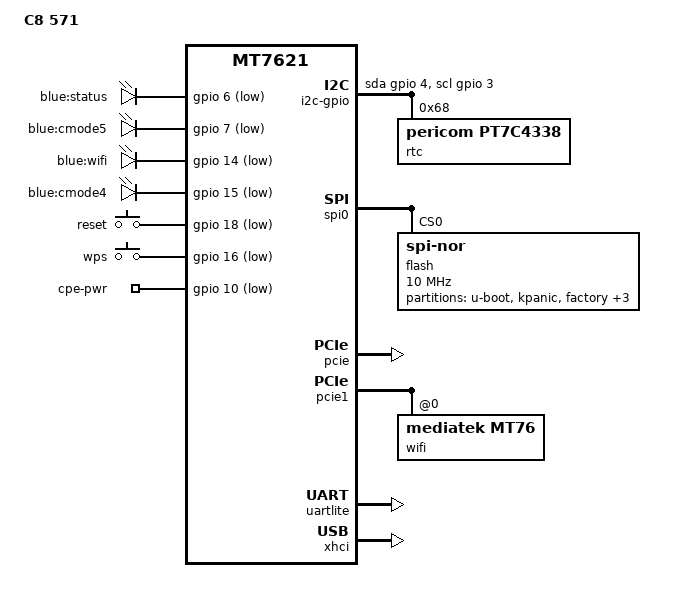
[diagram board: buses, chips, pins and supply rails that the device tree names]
// SPDX-License-Identifier: GPL-2.0-or-later OR MIT
/*
 * C8-571 / HC-WT6958 (HCMT7621-S256) board device tree
 *
 * Rebuilt from vendor firmware C8-571_2.2.7.0.bin (SquashFS + uImage, MT7621).
 * Every GPIO, partition and MAC offset below was verified against the DTB
 * extracted from that firmware; guesses from the earlier draft are marked
 * with "TODO(verify)" instead of being silently kept.
 */

/dts-v1/;

#include "mt7621.dtsi"

#include <dt-bindings/gpio/gpio.h>
#include <dt-bindings/input/input.h>
#include <dt-bindings/leds/common.h>

/ {
	compatible = "c8,571", "mediatek,mt7621-soc";
	model = "C8 571";

	aliases {
		led-boot = &led_sys;
		led-failsafe = &led_sys;
		led-running = &led_sys;
		led-upgrade = &led_sys;
		label-mac-device = &gmac0;
		serial0 = &uartlite;
	};

	chosen {
		stdout-path = "serial0:115200n8";
		bootargs = "console=ttyS0,115200n8";
	};

	leds {
		compatible = "gpio-leds";

		led_sys: sys {
			label = "blue:status";
			gpios = <&gpio 6 GPIO_ACTIVE_LOW>;
		};

		cmode5 {
			label = "blue:cmode5";
			gpios = <&gpio 7 GPIO_ACTIVE_LOW>;
		};

		wifi {
			label = "blue:wifi";
			gpios = <&gpio 14 GPIO_ACTIVE_LOW>;
		};

		cmode4 {
			label = "blue:cmode4";
			gpios = <&gpio 15 GPIO_ACTIVE_LOW>;
		};
	};

	keys {
		compatible = "gpio-keys-polled";
		poll-interval = <20>;

		reset {
			label = "reset";
			gpios = <&gpio 18 GPIO_ACTIVE_LOW>;
			linux,code = <KEY_RESTART>;
		};

		wps {
			label = "wps";
			gpios = <&gpio 16 GPIO_ACTIVE_LOW>;
			linux,code = <KEY_WPS_BUTTON>;
		};
	};

	gpio-export {
		compatible = "gpio-export";
		#size-cells = <0>;

		cpe-power {
			gpio-export,name = "cpe-pwr";
			gpio-export,output = <0>;
			gpios = <&gpio 10 GPIO_ACTIVE_LOW>;
		};

		/*
		 * Vendor DTB drives GPIO3 here (active-high) while the same pin is
		 * also the i2c-gpio SCL line below. Only one of the two can be
		 * active; this draft keeps the I2C bus so the PT7C4338 RTC works
		 * and leaves this node disabled. Flip the two "status" properties
		 * if the CPE select line matters more than the RTC on your unit.
		 */
		cpe-select {
			status = "disabled";
			gpio-export,name = "cpe-sel0";
			gpio-export,output = <1>;
			gpios = <&gpio 3 GPIO_ACTIVE_HIGH>;
		};
	};

	/*
	 * GPIO3 = SCL, GPIO4 = SDA, PT7C4338 RTC at 0x68.
	 * Verified present in the vendor DTB (i2c-gpio / pt7c4338 nodes).
	 */
	i2c-gpio {
		compatible = "i2c-gpio";
		sda-gpios = <&gpio 4 (GPIO_ACTIVE_HIGH | GPIO_OPEN_DRAIN)>;
		scl-gpios = <&gpio 3 (GPIO_ACTIVE_HIGH | GPIO_OPEN_DRAIN)>;
		i2c-gpio,delay-us = <10>;
		#address-cells = <1>;
		#size-cells = <0>;

		rtc@68 {
			compatible = "pericom,pt7c4338";
			reg = <0x68>;
		};
	};
};

&spi0 {
	status = "okay";

	flash@0 {
		compatible = "jedec,spi-nor";
		reg = <0>;
		spi-max-frequency = <10000000>;
		m25p,chunked-io = <32>;

		partitions {
			compatible = "fixed-partitions";
			#address-cells = <1>;
			#size-cells = <1>;

			partition@0 {
				label = "u-boot";
				reg = <0x0 0x30000>;
				read-only;
			};

			/* labelled "kpanic" in the vendor DTB, not "u-boot-env" */
			partition@30000 {
				label = "kpanic";
				reg = <0x30000 0x10000>;
				read-only;
			};

			factory: partition@40000 {
				label = "factory";
				reg = <0x40000 0x10000>;
				read-only;
			};

			/* 0xf90000 to match the vendor DTB; see README for the trade-off */
			partition@50000 {
				compatible = "denx,uimage";
				label = "firmware";
				reg = <0x50000 0xf90000>;
			};

			partition@fe0000 {
				label = "bdinfo";
				reg = <0xfe0000 0x10000>;
				read-only;
			};

			partition@ff0000 {
				label = "reserve";
				reg = <0xff0000 0x10000>;
				read-only;
			};
		};
	};
};

&pcie {
	status = "okay";
};

&pcie1 {
	wifi@0,0 {
		compatible = "mediatek,mt76";
		reg = <0x0000 0 0 0 0>;
		mediatek,mtd-eeprom = <&factory 0x0000>;
	};
};

&gmac0 {
	/*
	 * Vendor DTB takes the MAC from bdinfo@0x9. The draft used factory@0xe000;
	 * that offset is a guess, so verify it on your unit before flashing:
	 *   hexdump -C -s 0x4e000 -n 16 /dev/mtd2
	 * If factory@0xe000 does hold the MAC, this works as-is; otherwise switch
	 * to nvmem-cells = <&macaddr_factory_e000> or point it at bdinfo.
	 */
	mtd-mac-address = <&factory 0xe000>;
};

&switch0 {
	ports {
		port@0 {
			status = "okay";
			label = "lan1";
		};

		port@1 {
			status = "okay";
			label = "lan2";
		};

		port@2 {
			status = "okay";
			label = "lan3";
		};

		port@3 {
			status = "okay";
			label = "lan4";
		};

		port@4 {
			status = "okay";
			label = "wan";
			mtd-mac-address = <&factory 0xe006>;
		};
	};
};

&state_default {
	gpio {
		groups = "i2c", "jtag", "uart2", "uart3";
		function = "gpio";
	};
};

&uartlite {
	status = "okay";
};

&xhci {
	status = "okay";
};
